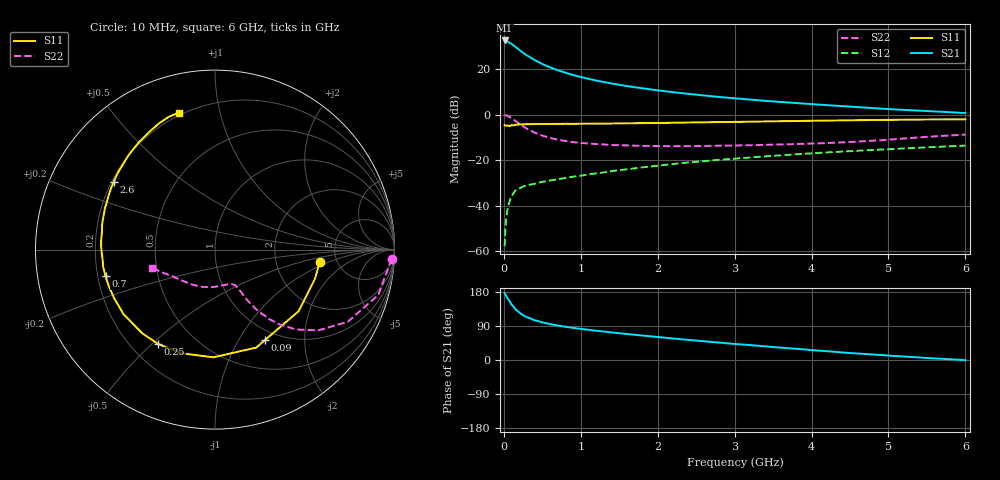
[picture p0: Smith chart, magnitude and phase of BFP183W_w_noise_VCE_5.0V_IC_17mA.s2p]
! Infineon Technologies  Discrete & RF Semiconductors
! BFP183W
! VCE =  5.0 V,  IC =  17 mA
! Common Emitter S-Parameters:  Jan 2017
# GHz  S  MA  R  50
!  f  S11  S21  S12  S22
! GHz  MAG  ANG  MAG  ANG  MAG  ANG  MAG  ANG
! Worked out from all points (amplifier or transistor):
!   77 points, 10 MHz to 6 GHz, reference 50 ohm
!   highest |S21| = 32.6 dB at 10 MHz (marker M1)
!   |S21| within 3 dB of that: start of sweep to 158.4 MHz
!   unconditionally stable (mu >= 1): 1.255 GHz to 3.699 GHz
!   at 130 MHz: K = 0.21, MSG = 32.3 dB, |S12| = -34.2 dB
!   at 2.2 GHz: K = 1.06, MAG = 14.2 dB, |S12| = -21.7 dB
!   at 6 GHz: K = 0.87, MSG = 7.1 dB, |S12| = -13.6 dB
!   lowest NFmin = 1.12 dB at 450 MHz
!   S11 on the Smith chart (normalised r, x): 10 MHz: 3.67, -0.77; 90 MHz: 0.86, -1.30; 250 MHz: 0.31, -0.52; 700 MHz: 0.23, -0.11; 2.6 GHz: 0.21, +0.29; 6 GHz: 0.19, +0.75
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0.01  0.5872 -6.7  42.48 176.9  0.0013 88.8  0.9862 -3.0
0.02  0.5806 -16.1  42.17 172.5  0.0031 88.1  0.9695 -6.3
0.05  0.5788 -36.3  40.19 162.1  0.0089 75.5  0.9442 -15.5
0.09  0.5763 -61.3  36.46 150.0  0.0147 66.0  0.8589 -25.7
0.1  0.5924 -67.2  35.81 146.6  0.0162 64.7  0.8423 -28.5
0.15  0.6002 -90.9  30.87 134.7  0.0216 55.6  0.7307 -38.0
0.2  0.6073 -108.0  26.42 125.4  0.0239 51.1  0.6339 -44.6
0.25  0.6139 -121.0  22.85 118.2  0.0265 46.9  0.5548 -49.0
0.3  0.618 -130.9  19.92 112.9  0.0282 45.1  0.4916 -52.0
0.4  0.6237 -144.6  15.78 104.9  0.0305 44.0  0.4032 -55.5
0.5  0.6238 -154.0  12.92 99.3  0.0335 44.3  0.3472 -57.1
0.6  0.6258 -160.9  10.94 94.8  0.036 45.0  0.3092 -58.0
0.7  0.6278 -166.3  9.448 91.1  0.0382 46.6  0.2819 -58.3
0.9  0.6286 -175.1  7.412 84.8  0.0436 49.0  0.2504 -59.2
1.1  0.6345 178.4  6.117 79.8  0.0487 51.8  0.2326 -60.3
1.5  0.6434 168.1  4.513 70.7  0.0604 54.8  0.2133 -64.3
2.1  0.6603 155.2  3.262 58.7  0.0792 55.9  0.2039 -75.2
2.6  0.6786 146.2  2.634 49.4  0.0954 55.3  0.2058 -87.4
3.1  0.6968 138.0  2.211 40.9  0.1115 53.9  0.2118 -99.8
4.1  0.737 123.7  1.66 24.7  0.1449 49.3  0.2351 -125.5
5.1  0.7717 113.0  1.299 10.4  0.1779 43.9  0.2906 -150.5
6  0.7896 104.9  1.085 -0.4  0.2095 38.1  0.3657 -164.1
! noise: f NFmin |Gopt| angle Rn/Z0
0.45  1.12  0.17  164  -0.02
0.9  1.15  0.23  169  0.09
1.9  1.61  0.4  -165  0.08
2.4  1.84  0.44  -159  0.11
